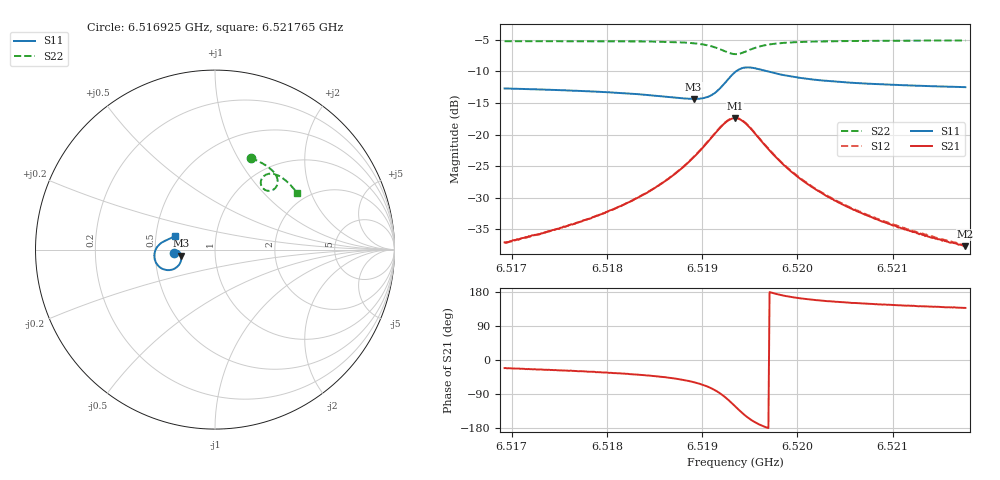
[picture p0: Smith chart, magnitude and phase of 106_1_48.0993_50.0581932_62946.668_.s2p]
#  HZ  S  RI  R  50.00
! Rohde & Schwarz Vector Network Analyzer
! Rohde-Schwarz,ZNB20-2Port,1311601062101988,3.16
! Created: UTC 12/23/2023, 3:45:16 AM
! freq[Hz]  re:S11  im:S11  re:S21  im:S21  re:S12  im:S12  re:S22  im:S22
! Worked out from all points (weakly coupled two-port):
!   401 points, 6.516925 GHz to 6.521765 GHz, reference 50 ohm
!   highest |S21| = -17.41 dB at 6.519345 GHz (marker M1); lowest = -37.7 dB at 6.521765 GHz (marker M2)
!   lowest |S11| = -14.4 dB at 6.51891 GHz (marker M3), VSWR 1.47, Z = 34.1 - j2.39 ohm
!   |S11| at or under -10 dB: start of sweep to 6.519355 GHz; 6.519689 GHz to end of sweep
!   |S22| runs from -7.3 to -5.1 dB; largest |S21 - S12| = 0.0042
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6.5169251e9  -0.231 -0.0187  0.013 -0.0051  0.0131 -0.00464  0.198 0.5111
6.5173123e9  -0.2269 -0.0128  0.015 -0.007  0.0151 -0.00653  0.2266 0.4995
6.5177358e9  -0.2211 -0.00785  0.0178 -0.0101  0.0182 -0.00965  0.2581 0.4841
6.5181594e9  -0.2129 -0.0054  0.0223 -0.016  0.0229 -0.0153  0.2899 0.4648
6.5185466e9  -0.2019 -0.00966  0.0285 -0.0274  0.0296 -0.0265  0.3197 0.4402
6.5187402e9  -0.1945 -0.0179  0.0325 -0.0388  0.0339 -0.0379  0.3348 0.4222
6.5189096e9  -0.1884 -0.0337  0.0347 -0.056  0.0365 -0.0553  0.3459 0.3998
6.5190306e9  -0.188 -0.0544  0.0315 -0.0762  0.034 -0.0758  0.3492 0.377
6.5191153e9  -0.1947 -0.0755  0.0219 -0.0954  0.025 -0.0954  0.3446 0.3566
6.5192485e9  -0.2366 -0.1107  -0.0207 -0.1232  -0.0171 -0.1248  0.3128 0.3288
6.5192969e9  -0.2637 -0.1144  -0.0457 -0.1239  -0.0426 -0.1262  0.2931 0.3278
6.5193453e9  -0.2929 -0.1071  -0.071 -0.1145  -0.0684 -0.1174  0.274 0.3358
6.5194058e9  -0.3221 -0.0832  -0.0945 -0.0906  -0.0926 -0.0939  0.2583 0.3558
6.5194663e9  -0.3363 -0.0519  -0.1037 -0.0618  -0.1027 -0.0653  0.2556 0.3796
6.5195631e9  -0.3338 -0.00901  -0.097 -0.0255  -0.097 -0.0285  0.2694 0.4069
6.519672e9  -0.3179 0.0199  -0.0802 -0.00325  -0.0807 -0.00579  0.292 0.4204
6.519914e9  -0.2866 0.0452  -0.0512 0.0116  -0.0522 0.0103  0.3323 0.4204
6.520156e9  -0.2678 0.0539  -0.0358 0.0136  -0.0365 0.0127  0.3594 0.4091
6.5205433e9  -0.2506 0.0614  -0.0231 0.0126  -0.0239 0.0121  0.3909 0.3874
6.5209668e9  -0.2389 0.0675  -0.0162 0.011  -0.0166 0.0107  0.4181 0.3624
6.5213903e9  -0.2303 0.0735  -0.012 0.00973  -0.0125 0.00964  0.4412 0.3368
6.5217655e9  -0.224 0.0785  -0.0096 0.00883  -0.01 0.00873  0.4593 0.3136
